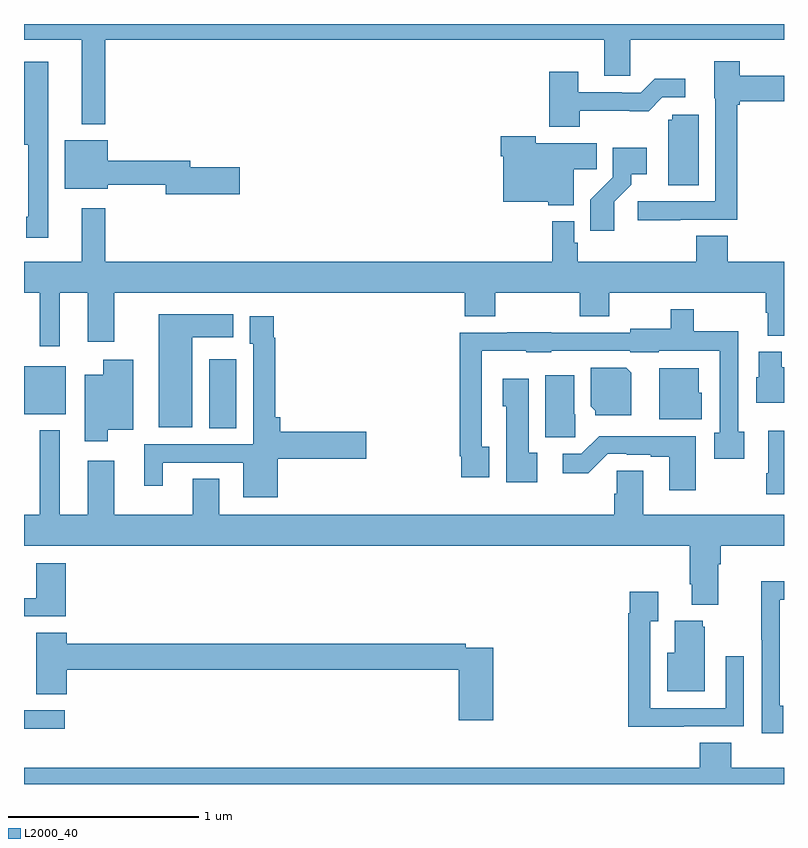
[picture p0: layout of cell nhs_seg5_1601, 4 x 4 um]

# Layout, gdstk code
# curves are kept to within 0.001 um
import gdstk
lib = gdstk.Library(unit=1e-6, precision=1e-09)
def R(c, l, rs):  # rectangles x0, y0, x1, y1
    for r in rs: c.add(gdstk.rectangle(r[:2], r[2:], *l))
def P(c, l, *ps):  # polygons
    for p in ps: c.add(gdstk.Polygon(p, *l))
L2000_40 = (2000, 40)

nhs_seg5_1601 = lib.new_cell('nhs_seg5_1601')
R(nhs_seg5_1601, L2000_40, [(207,897.089,207.214,897.186), (207.974,898.672,208.117,899.035), (207,898.745,207.22,898.999)])
P(nhs_seg5_1601, L2000_40, [(207.427,900.716),(210.053,900.716),(210.053,900.526),(210.192,900.526),(210.192,900.716),(211,900.716),(211,900.799),(207,900.799),(207,900.716),(207.305,900.716),(207.305,900.272),(207.427,900.272)],
  [(210.455,899.769),(210.755,899.769),(210.755,900.374),(210.768,900.374),(210.768,900.392),(211,900.392),(211,900.526),(210.768,900.526),(210.768,900.604),(210.632,900.604),(210.632,900.408),(210.639,900.408),(210.639,899.865),(210.231,899.865),(210.231,899.767),(210.455,899.767)],
  [(207.127,900.601),(207,900.601),(207,900.164),(207.023,900.164),(207.023,899.785),(207.013,899.785),(207.013,899.673),(207.127,899.673)],
  [(209.925,900.342),(210.287,900.341),(210.36,900.414),(210.481,900.414),(210.481,900.511),(210.319,900.511),(210.246,900.438),(210.146,900.438),(210.146,900.441),(209.917,900.441),(209.917,900.547),(209.765,900.547),(209.765,900.257),(209.925,900.257)],
  [(210.55,900.321),(210.411,900.321),(210.411,900.294),(210.392,900.294),(210.392,899.95),(210.55,899.95)],
  [(209.893,900.034),(210.014,900.034),(210.014,900.172),(209.693,900.172),(209.693,900.208),(209.51,900.208),(209.51,900.104),(209.522,900.104),(209.522,899.864),(209.76,899.864),(209.76,899.846),(209.893,899.846)],
  [(208.135,900.044),(207.874,900.044),(207.874,900.08),(207.442,900.08),(207.442,900.187),(207.215,900.187),(207.215,899.933),(207.442,899.933),(207.442,899.952),(207.746,899.952),(207.746,899.902),(208.135,899.902)],
  [(210.106,899.863),(210.196,899.953),(210.196,900.008),(210.277,900.008),(210.277,900.148),(210.099,900.148),(210.099,899.993),(209.98,899.874),(209.98,899.712),(210.106,899.712)],
  [(207.187,899.384),(207.335,899.384),(207.335,899.127),(207.475,899.127),(207.475,899.384),(209.321,899.384),(209.321,899.26),(209.481,899.26),(209.481,899.384),(209.926,899.384),(209.926,899.26),(210.081,899.26),(210.081,899.384),(210.903,899.384),(210.903,899.278),(210.914,899.278),(210.914,899.159),(211,899.159),(211,899.548),(210.704,899.548),(210.704,899.684),(210.539,899.684),(210.539,899.548),(209.915,899.548),(209.915,899.649),(209.895,899.649),(209.895,899.761),(209.779,899.761),(209.779,899.548),(207.427,899.548),(207.427,899.83),(207.305,899.83),(207.305,899.548),(207,899.548),(207,899.384),(207.083,899.384),(207.083,899.103),(207.187,899.103)],
  [(209.449,898.574),(209.409,898.574),(209.409,899.078),(209.643,899.078),(209.643,899.072),(209.775,899.072),(209.775,899.079),(210.192,899.079),(210.192,899.072),(210.342,899.072),(210.342,899.078),(210.663,899.078),(210.663,898.647),(210.632,898.647),(210.632,898.51),(210.79,898.51),(210.79,898.652),(210.759,898.652),(210.759,899.183),(210.526,899.183),(210.526,899.299),(210.405,899.299),(210.405,899.194),(210.192,899.194),(210.192,899.175),(209.775,899.175),(209.775,899.177),(209.543,899.177),(209.543,899.175),(209.293,899.175),(209.293,898.525),(209.301,898.525),(209.301,898.413),(209.449,898.413)],
  [(207.886,899.15),(208.102,899.15),(208.102,899.272),(207.71,899.272),(207.71,898.676),(207.886,898.676)],
  [(208.336,898.51),(208.801,898.51),(208.801,898.652),(208.349,898.652),(208.349,898.729),(208.322,898.729),(208.322,899.147),(208.315,899.147),(208.315,899.26),(208.187,899.26),(208.187,899.115),(208.206,899.115),(208.206,898.587),(207.632,898.587),(207.632,898.368),(207.73,898.368),(207.73,898.491),(208.154,898.491),(208.154,898.307),(208.336,898.307)],
  [(211,898.993),(210.988,898.993),(210.988,899.074),(210.866,899.074),(210.866,898.941),(210.854,898.941),(210.854,898.805),(211,898.805)],
  [(207.442,898.664),(207.574,898.664),(207.574,899.032),(207.416,899.032),(207.416,898.954),(207.32,898.954),(207.32,898.602),(207.442,898.602)],
  [(210.196,898.964),(210.17,898.99),(209.984,898.99),(209.984,898.786),(210.006,898.764),(210.006,898.739),(210.196,898.739)],
  [(210.568,898.857),(210.55,898.857),(210.55,898.988),(210.344,898.988),(210.344,898.718),(210.568,898.718)],
  [(209.9,898.746),(209.896,898.746),(209.896,898.951),(209.744,898.951),(209.744,898.623),(209.9,898.623)],
  [(209.701,898.542),(209.656,898.542),(209.656,898.933),(209.519,898.933),(209.519,898.788),(209.537,898.788),(209.537,898.388),(209.701,898.388)],
  [(210.655,897.956),(210.668,897.956),(210.668,898.052),(211,898.052),(211,898.216),(210.259,898.216),(210.259,898.448),(210.12,898.448),(210.12,898.326),(210.107,898.326),(210.107,898.216),(208.027,898.216),(208.027,898.406),(207.887,898.406),(207.887,898.216),(207.475,898.216),(207.475,898.501),(207.335,898.501),(207.335,898.216),(207.187,898.216),(207.187,898.66),(207.083,898.66),(207.083,898.216),(207,898.216),(207,898.052),(210.503,898.052),(210.503,897.85),(210.515,897.85),(210.515,897.743),(210.655,897.743)],
  [(211,898.657),(210.918,898.657),(210.918,898.435),(210.906,898.435),(210.906,898.323),(211,898.323)],
  [(210.535,898.63),(210.028,898.63),(209.934,898.536),(209.835,898.536),(209.835,898.434),(209.97,898.434),(210.072,898.536),(210.172,898.536),(210.172,898.533),(210.299,898.533),(210.299,898.521),(210.395,898.521),(210.395,898.344),(210.535,898.344)],
  [(207.221,897.961),(207.065,897.961),(207.065,897.777),(207,897.777),(207,897.681),(207.221,897.681)],
  [(210.997,897.21),(210.978,897.21),(210.978,897.768),(211,897.768),(211,897.866),(210.88,897.866),(210.88,897.559),(210.882,897.559),(210.882,897.066),(210.997,897.066)],
  [(210.473,897.102),(210.789,897.102),(210.789,897.472),(210.693,897.472),(210.693,897.198),(210.297,897.198),(210.297,897.655),(210.337,897.655),(210.337,897.811),(210.189,897.811),(210.189,897.698),(210.181,897.698),(210.181,897.101),(210.473,897.101)],
  [(210.583,897.627),(210.572,897.627),(210.572,897.658),(210.425,897.658),(210.425,897.49),(210.386,897.49),(210.386,897.287),(210.583,897.287)],
  [(209.471,897.516),(209.324,897.516),(209.324,897.536),(207.226,897.536),(207.226,897.596),(207.065,897.596),(207.065,897.271),(207.226,897.271),(207.226,897.4),(209.288,897.4),(209.288,897.135),(209.471,897.135)],
  [(211,896.884),(210.722,896.884),(210.722,897.017),(210.557,897.017),(210.557,896.884),(207,896.884),(207,896.799),(211,896.799)])

lib.write_gds('nhs_seg5_1601.gds')
